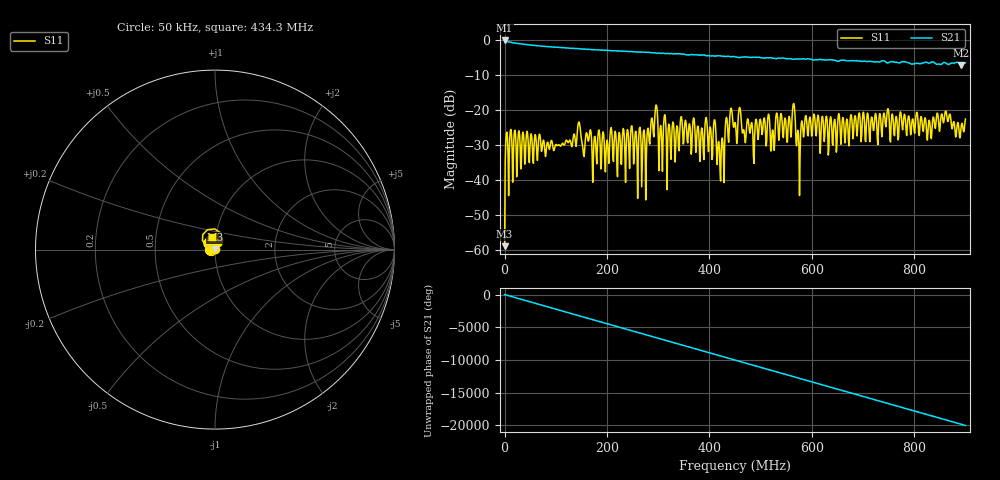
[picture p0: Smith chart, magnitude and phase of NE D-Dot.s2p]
! NanoVNA-App
! Date: 2026-10-30 13:42:50
! Start: 50kHz Stop: 900MHz Points: 801
! S-Parameter data: F S11 S21 S12 S22
# Hz S RI R 50
!  Frequency  S11_Real  S11_Imag  S21_Real  S21_Imag  S12_Real  S12_Imag  S22_Real  S22_Imag
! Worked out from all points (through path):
!   801 points, 50 kHz to 900 MHz, reference 50 ohm
!   highest |S21| = -0.04 dB at 50 kHz (marker M1); lowest = -7.0 dB at 891 MHz (marker M2)
!   group delay of S21, straight-line fit = 61.8 ns
!   lowest |S11| = -59.0 dB at 50 kHz (marker M3), VSWR 1.00, Z = 50 + j0.109 ohm
!   |S11| at or under -10 dB: start of sweep to end of sweep
!   S12 and S22 are empty: the file has one direction only
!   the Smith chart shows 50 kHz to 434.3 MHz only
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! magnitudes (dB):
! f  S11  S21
! 50 kHz  -59.0  0.0
! 7.925 MHz  -44.5  -0.5
! 150.8 MHz  -29.0  -2.5
! 200.3 MHz  -28.6  -2.9
! 252 MHz  -35.4  -3.3
! 272.3 MHz  -25.7  -3.4
! 292.5 MHz  -24.6  -3.5
! 300.4 MHz  -29.1  -3.7
! 304.9 MHz  -24.4  -3.7
! 397.2 MHz  -29.4  -4.4
! 424.2 MHz  -28.8  -4.5
! 437.7 MHz  -29.2  -4.6
! 450 MHz  -23.6  -4.8
! 502.9 MHz  -27.0  -5.0
! 523.1 MHz  -25.7  -5.1
! 563.6 MHz  -18.3  -5.5
! 573.8 MHz  -26.7  -5.4
! 583.9 MHz  -27.7  -5.3
! 600.8 MHz  -27.2  -5.6
! 750.4 MHz  -20.8  -6.3
! 891 MHz  -25.8  -7.0
! 900 MHz  -22.6  -6.5
